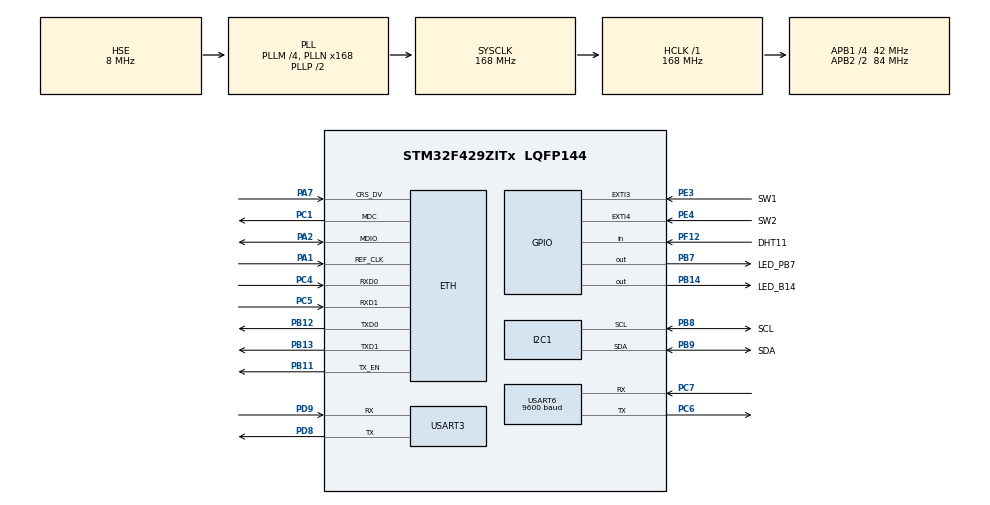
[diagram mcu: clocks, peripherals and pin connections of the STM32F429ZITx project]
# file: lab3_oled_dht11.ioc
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Dma.Request0=USART6_RX
Dma.Request1=USART6_TX
Dma.USART6_RX.0.Direction=DMA_PERIPH_TO_MEMORY
Dma.USART6_RX.0.FIFOMode=DMA_FIFOMODE_DISABLE
Dma.USART6_RX.0.Instance=DMA2_Stream1
Dma.USART6_RX.0.MemDataAlignment=DMA_MDATAALIGN_BYTE
Dma.USART6_RX.0.MemInc=DMA_MINC_ENABLE
Dma.USART6_RX.0.Mode=DMA_NORMAL
Dma.USART6_RX.0.PeriphDataAlignment=DMA_PDATAALIGN_BYTE
Dma.USART6_RX.0.PeriphInc=DMA_PINC_DISABLE
Dma.USART6_RX.0.Priority=DMA_PRIORITY_LOW
Dma.USART6_TX.1.Direction=DMA_MEMORY_TO_PERIPH
Dma.USART6_TX.1.FIFOMode=DMA_FIFOMODE_DISABLE
Dma.USART6_TX.1.Instance=DMA2_Stream6
Dma.USART6_TX.1.MemDataAlignment=DMA_MDATAALIGN_BYTE
Dma.USART6_TX.1.MemInc=DMA_MINC_ENABLE
Dma.USART6_TX.1.Mode=DMA_NORMAL
Dma.USART6_TX.1.PeriphDataAlignment=DMA_PDATAALIGN_BYTE
Dma.USART6_TX.1.PeriphInc=DMA_PINC_DISABLE
Dma.USART6_TX.1.Priority=DMA_PRIORITY_LOW
ETH.MediaInterface=HAL_ETH_RMII_MODE
ETH.RxMode=ETH_RXINTERRUPT_MODE
FREERTOS.Tasks01=defaultTask,24,128,StartDefaultTask,Default,NULL,Dynamic,NULL,NULL
FREERTOS.configTOTAL_HEAP_SIZE=25360
I2C1.I2C_Mode=I2C_Fast
LWIP.BSP.number=1
LWIP.GATEWAY_ADDRESS=192.168.001.001
LWIP.IP_ADDRESS=192.168.001.200
LWIP.LWIP_DHCP=0
LWIP.MEM_SIZE=10*1024
LWIP.NETMASK_ADDRESS=255.255.255.000
LWIP.Version=v2.1.2_Cube
LWIP0.BSP.STBoard=false
LWIP0.BSP.api=BSP_COMPONENT_DRIVER
LWIP0.BSP.component=LAN8742
LWIP0.BSP.instance=LAN8742
LWIP0.BSP.name=Driver_PHY
LWIP0.BSP.semaphore=S_LAN8742
LWIP0.BSP.solution=LAN8742
Mcu.Family=STM32F4
Mcu.Name=STM32F429ZITx
Mcu.Package=LQFP144
NVIC.DMA2_Stream1_IRQn=true\:5\:0\:false\:false\:true\:true\:false\:true\:true
NVIC.DMA2_Stream6_IRQn=true\:5\:0\:false\:false\:true\:true\:false\:true\:true
NVIC.ETH_IRQn=true\:5\:0\:false\:false\:true\:true\:false\:true\:true
NVIC.EXTI3_IRQn=true\:5\:0\:false\:false\:true\:true\:true\:true\:true
NVIC.EXTI4_IRQn=true\:5\:0\:false\:false\:true\:true\:true\:true\:true
NVIC.PriorityGroup=NVIC_PRIORITYGROUP_4
NVIC.TIM1_UP_TIM10_IRQn=true\:15\:0\:false\:false\:true\:false\:false\:true\:true
NVIC.TIM3_IRQn=true\:5\:0\:false\:false\:true\:true\:true\:true\:true
NVIC.TimeBase=TIM1_UP_TIM10_IRQn
NVIC.TimeBaseIP=TIM1
NVIC.USART6_IRQn=true\:5\:0\:false\:false\:true\:true\:true\:true\:true
PA1.Mode=RMII
PA1.Signal=ETH_REF_CLK
PA13.Mode=Serial_Wire
PA13.Signal=SYS_JTMS-SWDIO
PA14.Mode=Serial_Wire
PA14.Signal=SYS_JTCK-SWCLK
PA2.Mode=RMII
PA2.Signal=ETH_MDIO
PA7.Mode=RMII
PA7.Signal=ETH_CRS_DV
PB11.Mode=RMII
PB11.Signal=ETH_TX_EN
PB12.Mode=RMII
PB12.Signal=ETH_TXD0
PB13.Mode=RMII
PB13.Signal=ETH_TXD1
PB14.GPIO_Label=LED_B14
PB14.Signal=GPIO_Output
PB7.GPIO_Label=LED_PB7
PB7.Signal=GPIO_Output
PB8.GPIO_Label=SCL
PB8.Mode=I2C
PB8.Signal=I2C1_SCL
PB9.GPIO_Label=SDA
PB9.Mode=I2C
PB9.Signal=I2C1_SDA
PC1.Mode=RMII
PC1.Signal=ETH_MDC
PC4.Mode=RMII
PC4.Signal=ETH_RXD0
PC5.Mode=RMII
PC5.Signal=ETH_RXD1
PC6.Mode=Asynchronous
PC6.Signal=USART6_TX
PC7.Mode=Asynchronous
PC7.Signal=USART6_RX
PD8.Mode=Asynchronous
PD8.Signal=USART3_TX
PD9.Mode=Asynchronous
PD9.Signal=USART3_RX
PE3.GPIO_Label=SW1
PE3.Signal=GPXTI3
PE4.GPIO_Label=SW2
PE4.Signal=GPXTI4
PF12.GPIO_Label=DHT11
PF12.Signal=GPIO_Input
PH0/OSC_IN.Mode=HSE-External-Oscillator
PH0/OSC_IN.Signal=RCC_OSC_IN
PH1/OSC_OUT.Mode=HSE-External-Oscillator
PH1/OSC_OUT.Signal=RCC_OSC_OUT
ProjectManager.HeapSize=0x200
ProjectManager.StackSize=0x400
ProjectManager.TargetToolchain=MDK-ARM V5.32
RCC.48MHZClocksFreq_Value=48000000
RCC.AHBFreq_Value=168000000
RCC.APB1CLKDivider=RCC_HCLK_DIV4
RCC.APB1Freq_Value=42000000
RCC.APB1TimFreq_Value=84000000
RCC.APB2CLKDivider=RCC_HCLK_DIV2
RCC.APB2Freq_Value=84000000
RCC.APB2TimCLKDivider=2
RCC.APB2TimFreq_Value=168000000
RCC.CortexFreq_Value=168000000
RCC.HCLKFreq_Value=168000000
RCC.HSE_VALUE=8000000
RCC.HSI_VALUE=16000000
RCC.LSE_VALUE=32768
RCC.PLLM=4
RCC.PLLMUL=RCC_PLL_MUL9
RCC.PLLN=168
RCC.PLLQ=7
RCC.PLLSourceVirtual=RCC_PLLSOURCE_HSE
RCC.PRESCALERUSB=RCC_USBCLKSOURCE_PLL_DIV1_5
RCC.SYSCLKFreq_VALUE=168000000
RCC.SYSCLKSource=RCC_SYSCLKSOURCE_PLLCLK
RCC.SYSCLKSourceVirtual=RCC_SYSCLKSOURCE_PLLCLK
RCC.USBFreq_Value=48000000
RCC.VCOOutputFreq_Value=336000000
TIM2.Prescaler=83
TIM3.Period=50000
TIM3.Prescaler=8399
USART3.VirtualMode=VM_ASYNC
USART6.BaudRate=9600
USART6.VirtualMode=VM_ASYNC
VP_FREERTOS_VS_CMSIS_V2.Mode=CMSIS_V2
VP_LWIP_VS_Enabled.Mode=Enabled
VP_SYS_VS_tim1.Mode=TIM1
VP_TIM2_VS_ClockSourceINT.Mode=Internal
VP_TIM3_VS_ClockSourceINT.Mode=Internal
board=NUCLEO-F429ZI

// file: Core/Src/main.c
/* USER CODE BEGIN Header */
/**
  ******************************************************************************
  * @file           : main.c
  * @brief          : Main program body
  ******************************************************************************
  * @attention
  *
  * Copyright (c) 2024 STMicroelectronics.
  * All rights reserved.
  *
  * This software is licensed under terms that can be found in the LICENSE file
  * in the root directory of this software component.
  * If no LICENSE file comes with this software, it is provided AS-IS.
  *
  ******************************************************************************
  */
/* USER CODE END Header */
#include "main.h"
#include "cmsis_os.h"
#include "dma.h"
#include "i2c.h"
#include "lwip.h"
#include "tim.h"
#include "usart.h"
#include "gpio.h"

/* USER CODE BEGIN Includes */
#include "FreeRTOS.h"
#include "queue.h"
#include "task.h"
#include "oled.h"
#include "u8g2.h"
#include "dht11.h"
#include "stdio.h"
#include "syn6288.h"
#include "semphr.h"
#include "string.h"
#include "lwip/netif.h"
#include "lwip/init.h"
#include "lwip/ip_addr.h"
#include "lwip/udp.h"
#include "ethernetif.h"
#include "netif/ethernet.h"
#include "lwip/api.h"
/* USER CODE END Includes */

/* USER CODE BEGIN PD */
QueueHandle_t queueSwitch;
/* USER CODE END PD */

/* USER CODE BEGIN PV */
QueueHandle_t queueDHT11;

TaskHandle_t handleDHT11;
TaskHandle_t handleOLED;
TaskHandle_t handlefivesec;
u8g2_t u8g2;
SemaphoreHandle_t xSem;
struct dht11{
	float Temp;
	float Humi;
};

struct dht11 dht11DATA;

struct udp_pcb *upcb;
ip_addr_t dest_ip;

/* USER CODE END PV */

void SystemClock_Config(void);
void MX_FREERTOS_Init(void);
/* USER CODE BEGIN PFP */
void udp_init_client(void);
void send_temp_humi(float temp, float humi);
uint8_t displayMode = 9;
uint8_t displayModeouo=9;
uint8_t recvBuf[2];
uint8_t TTSData[] =
{0x5b,0x76,0x36,0x5d,0x5b,0x6d,0x30,0x5d,0x5b,0x74,0x35,0x5d,0xbd,0xd0,0xb6,0x7d,0xb1,0xd2,0xa7,0x4e,0xae,0xf0}; //"[v6][m0][t5]oil not good to drink
uint8_t TTSData2[] =
{0x5b,0x76,0x36,0x5d,0x5b,0x6d,0x30,0x5d,0x5b,0x74,0x35,0x5d,0xbd,0xd0,0xb6,0x7d,0xb1,0xd2,0xb0,0xa3,0xc0,0xe3,0xbe,0xf7}; //"[v6][m0][t5]oil not good to drink
/* USER CODE END PFP */

/* USER CODE BEGIN 0 */
/**********************
receive data from queue
success -> pdPASS(1) -> update OLED
fail -> pdFAIL(0) -> taskYIELD();
**********************/
void taskOLED(void *pvParm){
	u8g2Init(&u8g2);
	u8g2_ClearBuffer(&u8g2);
	u8g2_ClearDisplay(&u8g2);
	u8g2_SetFont(&u8g2, u8g2_font_samim_16_t_all);
	char displayTemp[20];
	char displayHumi[20];
	uint8_t stuID[9] = "B10913139";
	char str[10];
	int bar=0;
	int countstr=0;

	while(1){

		xQueueReceive(queueSwitch, &displayMode, NULL);
		BaseType_t dht11Receive = xQueueReceive(queueDHT11, &dht11DATA, NULL);

		switch(displayMode){
			case 0:{
				if(countstr<11){
					countstr++;
				}
				else{
					countstr=0;
				}
				u8g2_ClearBuffer(&u8g2);
				u8g2_DrawBox(&u8g2, 4, 18, 12, 12);
				snprintf(str, countstr, "%s", stuID);
				u8g2_DrawStr(&u8g2, 18, 30, str);
				u8g2_DrawLine(&u8g2, 18, 35, 103, 35);
				u8g2_DrawBox(&u8g2, 110, 18, 12, 12);
				u8g2_SendBuffer(&u8g2);
				vTaskDelay(200);
				break;
			}

			case 1:{
			u8g2_ClearBuffer(&u8g2);
			if(dht11Receive == pdPASS){
			snprintf(displayTemp, sizeof(displayTemp), "Temp: %.1f C", dht11DATA.Temp);
			snprintf(displayHumi, sizeof(displayHumi), "Humi: %.1f %%", dht11DATA.Humi);
			u8g2_ClearBuffer(&u8g2);
			u8g2_DrawStr(&u8g2, 0, 20, displayTemp);
			u8g2_DrawStr(&u8g2, 0, 40, displayHumi);
			u8g2_SendBuffer(&u8g2);
			/*if(dht11DATA.Temp>=27){
				HAL_GPIO_WritePin(LED_PB7_GPIO_Port, LED_PB7_Pin, 1);//change to syn6288 say Huni is too high!!!!
				SYN_FrameInfo(0, TTSData);
				vTaskDelay(4000);}*/
			if(dht11DATA.Humi>=60){
				HAL_GPIO_WritePin(LED_PB7_GPIO_Port, LED_PB7_Pin, 1);//change to syn6288 say Huni is too high!!!!
				SYN_FrameInfo(0, TTSData2);
				vTaskDelay(4000);
			} else
			{
         HAL_GPIO_WritePin(LED_PB7_GPIO_Port, LED_PB7_Pin, 0); // ??
      }

		}else{
			//taskYIELD();
		}
				break;
			}
			case 2:{
				if (dht11Receive == pdPASS)
					{
						snprintf(displayTemp, sizeof(displayTemp), "Temp: %.1f C", dht11DATA.Temp);

						// ????
						float fahrenheit = (dht11DATA.Temp * 9 / 5) + 32;
						snprintf(displayTemp, sizeof(displayTemp), "Temp: %.1f F", fahrenheit);

						snprintf(displayHumi, sizeof(displayHumi), "Humi: %.1f %%", dht11DATA.Humi);
						u8g2_ClearBuffer(&u8g2);
						u8g2_DrawStr(&u8g2, 0, 20, displayTemp);
						u8g2_DrawStr(&u8g2, 0, 40, displayHumi);
						u8g2_SendBuffer(&u8g2);
						/*if (dht11DATA.Humi >= 50) {
								HAL_GPIO_WritePin(LED_PB7_GPIO_Port, LED_PB7_Pin, 1);
								SYN_FrameInfo(0, TTSData2);
								vTaskDelay(4000);
						} else {
								HAL_GPIO_WritePin(LED_PB7_GPIO_Port, LED_PB7_Pin, 0);
						}*/

				}
						break;
			}
			default:{
				displayMode=1;

				break;
			}

		}

		vTaskDelay(100);
	}
}
void HAL_GPIO_EXTI_Callback(uint16_t GPIO_Pin){
	uint8_t mode = 0;

	switch(GPIO_Pin){
		//sw1 PE3
		case GPIO_PIN_3:
		{
			if(HAL_GPIO_ReadPin(SW1_GPIO_Port, SW1_Pin) == 1){
				mode = 1;
				printf("display mode:student id, line, circle\r\n");
				xQueueSendFromISR(queueSwitch, &mode, NULL);
			}
			break;
		}

		//sw2 PE4
		case GPIO_PIN_4:
		{
			if(HAL_GPIO_ReadPin(SW2_GPIO_Port, SW2_Pin) == 1){
				mode = 2;
				printf("display mode:show QRcode, timer \r\n");
				xQueueSendFromISR(queueSwitch, &mode, NULL);
			}
			break;
		}

		default:
			mode = 0;
			xQueueSendFromISR(queueSwitch, &mode, NULL);
			printf("unknown irq happend \r\n");
			break;
	}
}

/***************
return from DHT11GetData(&temp, &humi);
success -> 0
fail -> -1

run every 3s
***************/
void taskDHT11(void *pvParm){
	while(1){

		HAL_GPIO_WritePin(LED_B14_GPIO_Port, LED_B14_Pin, 1);
		if(DHT11GetData(&dht11DATA.Humi, &dht11DATA.Temp) == 0){
			xQueueSend(queueDHT11, &dht11DATA, NULL);
			printf("Temp:%.1f C\r\n", dht11DATA.Temp);
			printf("Humi:%.1f %%\r\n", dht11DATA.Humi);
			send_temp_humi(dht11DATA.Temp, dht11DATA.Humi);
		}
		HAL_GPIO_WritePin(LED_B14_GPIO_Port, LED_B14_Pin, 0);
		vTaskDelay(2000);
	}
}
void udp_init_client(void) {
    upcb = udp_new();
    if (upcb) {
        IP4_ADDR(&dest_ip, 192, 168, 1, 10); // ???????IP??
        udp_connect(upcb, &dest_ip, 8051);
    }
}
void send_temp_humi(float temp, float humi) {
    struct pbuf *p;
    char msg[50];
    snprintf(msg, sizeof(msg), "Temp: %.1f C, Humi: %.1f %%", temp, humi);

    p = pbuf_alloc(PBUF_TRANSPORT, strlen(msg), PBUF_RAM);
    if (p != NULL) {
        memcpy(p->payload, msg, strlen(msg));
        udp_send(upcb, p);
        pbuf_free(p);
    }
}

/* USER CODE END 0 */

int main(void)
{

  /* MCU Configuration--------------------------------------------------------*/

  /* Reset of all peripherals, Initializes the Flash interface and the Systick. */
  HAL_Init();

  /* Configure the system clock */
  SystemClock_Config();

  /* Initialize all configured peripherals */
  MX_GPIO_Init();
  MX_DMA_Init();
  MX_TIM2_Init();
  MX_USART3_UART_Init();
  MX_I2C1_Init();
  MX_TIM3_Init();
  MX_USART6_UART_Init();
  /* USER CODE BEGIN 2 */
	HAL_TIM_Base_Start_IT(&htim3);
	queueDHT11 = xQueueCreate(3, sizeof(dht11DATA));
	/***********************
	memory allocate
	usStackDepth -> const uint16_t
	1word = 2bytes
	taskOLED -> 256 * 2 = 512 bytes = 0.5 kB
	taskDHT11 -> 128 * 2 = 256 bytes = 0.25 kB
	***********************/
	queueSwitch = xQueueCreate(3, sizeof(uint8_t));
	xTaskCreate(taskOLED, "OLED", 256, NULL, 1, &handleOLED);
	xTaskCreate(taskDHT11, "DHT11", 128, NULL, 2, &handleDHT11);
	//xTaskCreate(taskfivesec, "fivesec", 256, NULL, 3, &handlefivesec);
	udp_init_client();
	printf("StartScheduler \r\n");
	vTaskStartScheduler();
  /* USER CODE END 2 */

  /* Init scheduler */
  osKernelInitialize();

  /* Call init function for freertos objects (in freertos.c) */
  MX_FREERTOS_Init();

  /* Start scheduler */
  osKernelStart();

  /* We should never get here as control is now taken by the scheduler */
  /* Infinite loop */
  while (1)
  {

  }
}

void SystemClock_Config(void)
{
  RCC_OscInitTypeDef RCC_OscInitStruct = {0};
  RCC_ClkInitTypeDef RCC_ClkInitStruct = {0};

  /** Configure the main internal regulator output voltage
  */
  __HAL_RCC_PWR_CLK_ENABLE();
  __HAL_PWR_VOLTAGESCALING_CONFIG(PWR_REGULATOR_VOLTAGE_SCALE1);

  /** Initializes the RCC Oscillators according to the specified parameters
  * in the RCC_OscInitTypeDef structure.
  */
  RCC_OscInitStruct.OscillatorType = RCC_OSCILLATORTYPE_HSE;
  RCC_OscInitStruct.HSEState = RCC_HSE_ON;
  RCC_OscInitStruct.PLL.PLLState = RCC_PLL_ON;
  RCC_OscInitStruct.PLL.PLLSource = RCC_PLLSOURCE_HSE;
  RCC_OscInitStruct.PLL.PLLM = 4;
  RCC_OscInitStruct.PLL.PLLN = 168;
  RCC_OscInitStruct.PLL.PLLP = RCC_PLLP_DIV2;
  RCC_OscInitStruct.PLL.PLLQ = 7;
  if (HAL_RCC_OscConfig(&RCC_OscInitStruct) != HAL_OK)
  {
    Error_Handler();
  }

  /** Initializes the CPU, AHB and APB buses clocks
  */
  RCC_ClkInitStruct.ClockType = RCC_CLOCKTYPE_HCLK|RCC_CLOCKTYPE_SYSCLK
                              |RCC_CLOCKTYPE_PCLK1|RCC_CLOCKTYPE_PCLK2;
  RCC_ClkInitStruct.SYSCLKSource = RCC_SYSCLKSOURCE_PLLCLK;
  RCC_ClkInitStruct.AHBCLKDivider = RCC_SYSCLK_DIV1;
  RCC_ClkInitStruct.APB1CLKDivider = RCC_HCLK_DIV4;
  RCC_ClkInitStruct.APB2CLKDivider = RCC_HCLK_DIV2;

  if (HAL_RCC_ClockConfig(&RCC_ClkInitStruct, FLASH_LATENCY_5) != HAL_OK)
  {
    Error_Handler();
  }
}

void HAL_TIM_PeriodElapsedCallback(TIM_HandleTypeDef *htim)
{
  if (htim->Instance == TIM1) {
    HAL_IncTick();
  }
}

void Error_Handler(void)
{
  __disable_irq();
  while (1)
  {
  }
}
